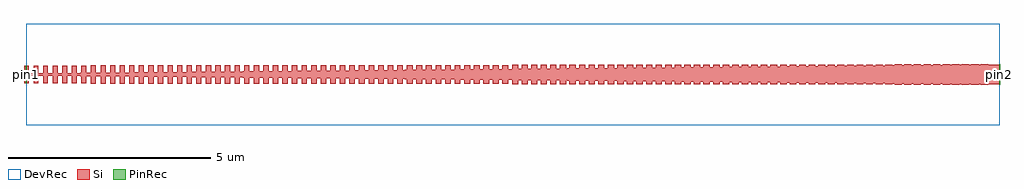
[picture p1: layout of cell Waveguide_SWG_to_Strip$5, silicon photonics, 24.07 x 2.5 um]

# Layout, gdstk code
import gdstk
lib = gdstk.Library(unit=1e-6, precision=1e-09)
def R(c, l, rs):  # rectangles x0, y0, x1, y1
    for r in rs: c.add(gdstk.rectangle(r[:2], r[2:], *l))
def P(c, l, *ps):  # polygons
    for p in ps: c.add(gdstk.Polygon(p, *l))
Si = (1, 0)
PinRec = (1, 10)
DevRec = (68, 0)

waveguide_swg_to_strip_5 = lib.new_cell('Waveguide_SWG_to_Strip$5')
R(waveguide_swg_to_strip_5, Si, [(23.069,-0.249,23.244,0.249), (23.305,-0.249,23.481,0.249), (23.541,-0.249,23.717,0.249), (22.361,-0.248,22.534,0.248), (22.597,-0.248,22.771,0.248), (22.833,-0.248,23.008,0.248), (21.417,-0.247,21.588,0.247), (21.653,-0.247,21.825,0.247), (21.889,-0.247,22.061,0.247), (22.125,-0.247,22.298,0.247), (20.709,-0.246,20.878,0.246), (20.945,-0.246,21.115,0.246), (21.181,-0.246,21.352,0.246), (20.001,-0.245,20.169,0.245), (20.237,-0.245,20.405,0.245), (20.473,-0.245,20.642,0.245), (19.057,-0.244,19.222,0.244), (19.293,-0.244,19.459,0.244), (19.529,-0.244,19.695,0.244), (19.765,-0.244,19.932,0.244), (18.349,-0.243,18.513,0.243), (18.585,-0.243,18.749,0.243), (18.821,-0.243,18.986,0.243), (17.641,-0.242,17.803,0.242), (17.877,-0.242,18.039,0.242), (18.113,-0.242,18.276,0.242), (16.697,-0.241,16.856,0.241), (16.933,-0.241,17.093,0.241), (17.169,-0.241,17.33,0.241), (17.405,-0.241,17.566,0.241), (15.989,-0.24,16.147,0.24), (16.225,-0.24,16.383,0.24), (16.461,-0.24,16.62,0.24), (15.045,-0.239,15.2,0.239), (15.281,-0.239,15.437,0.239), (15.517,-0.239,15.674,0.239), (15.753,-0.239,15.91,0.239), (14.337,-0.238,14.491,0.238), (14.573,-0.238,14.727,0.238), (14.809,-0.238,14.964,0.238), (13.629,-0.237,13.781,0.237), (13.865,-0.237,14.017,0.237), (14.101,-0.237,14.254,0.237), (12.685,-0.236,12.835,0.236), (12.921,-0.236,13.071,0.236), (13.157,-0.236,13.308,0.236), (13.393,-0.236,13.544,0.236), (11.977,-0.235,12.125,0.235), (12.213,-0.235,12.361,0.235), (12.449,-0.235,12.598,0.235), (11.269,-0.234,11.415,0.234), (11.505,-0.234,11.652,0.234), (11.741,-0.234,11.888,0.234), (10.325,-0.233,10.469,0.233), (10.561,-0.233,10.705,0.233), (10.797,-0.233,10.942,0.233), (11.033,-0.233,11.178,0.233), (9.617,-0.232,9.759,0.232), (9.853,-0.232,9.996,0.232), (10.089,-0.232,10.232,0.232), (8.909,-0.231,9.049,0.231), (9.145,-0.231,9.286,0.231), (9.381,-0.231,9.522,0.231), (7.965,-0.23,8.103,0.23), (8.201,-0.23,8.339,0.23), (8.437,-0.23,8.576,0.23), (8.673,-0.23,8.813,0.23), (7.257,-0.229,7.393,0.229), (7.493,-0.229,7.63,0.229), (7.729,-0.229,7.866,0.229), (6.313,-0.228,6.447,0.228), (6.549,-0.228,6.683,0.228), (6.785,-0.228,6.92,0.228), (7.021,-0.228,7.157,0.228), (5.605,-0.227,5.737,0.227), (5.841,-0.227,5.974,0.227), (6.077,-0.227,6.21,0.227), (4.897,-0.226,5.027,0.226), (5.133,-0.226,5.264,0.226), (5.369,-0.226,5.5,0.226), (3.953,-0.225,4.081,0.225), (4.189,-0.225,4.318,0.225), (4.425,-0.225,4.554,0.225), (4.661,-0.225,4.791,0.225), (3.245,-0.224,3.371,0.224), (3.481,-0.224,3.608,0.224), (3.717,-0.224,3.844,0.224), (2.537,-0.223,2.661,0.223), (2.773,-0.223,2.898,0.223), (3.009,-0.223,3.135,0.223), (1.593,-0.222,1.715,0.222), (1.829,-0.222,1.952,0.222), (2.065,-0.222,2.188,0.222), (2.301,-0.222,2.425,0.222), (0.885,-0.221,1.005,0.221), (1.121,-0.221,1.242,0.221), (1.357,-0.221,1.479,0.221), (-0.059,-0.22,0.059,0.22), (0.177,-0.22,0.296,0.22), (0.413,-0.22,0.532,0.22), (0.649,-0.22,0.769,0.22)])
P(waveguide_swg_to_strip_5, Si, [(24,-0.25),(0,-0.03),(0,0.03),(24,0.25)])
R(waveguide_swg_to_strip_5, DevRec, [(0,-1.25,24,1.25)])
waveguide_swg_to_strip_5.add(gdstk.FlexPath([(0.01,0),(-0.01,0)], 0.44, ends="flush", simple_path=True, layer=1, datatype=10))  # PinRec
waveguide_swg_to_strip_5.add(gdstk.FlexPath([(23.99,0),(24.01,0)], 0.5, ends="flush", simple_path=True, layer=1, datatype=10))  # PinRec
waveguide_swg_to_strip_5.add(gdstk.Label('pin1', (0,0), layer=1, texttype=10))
waveguide_swg_to_strip_5.add(gdstk.Label('pin2', (24,0), layer=1, texttype=10))

lib.write_gds('Waveguide_SWG_to_Strip_5.gds')
